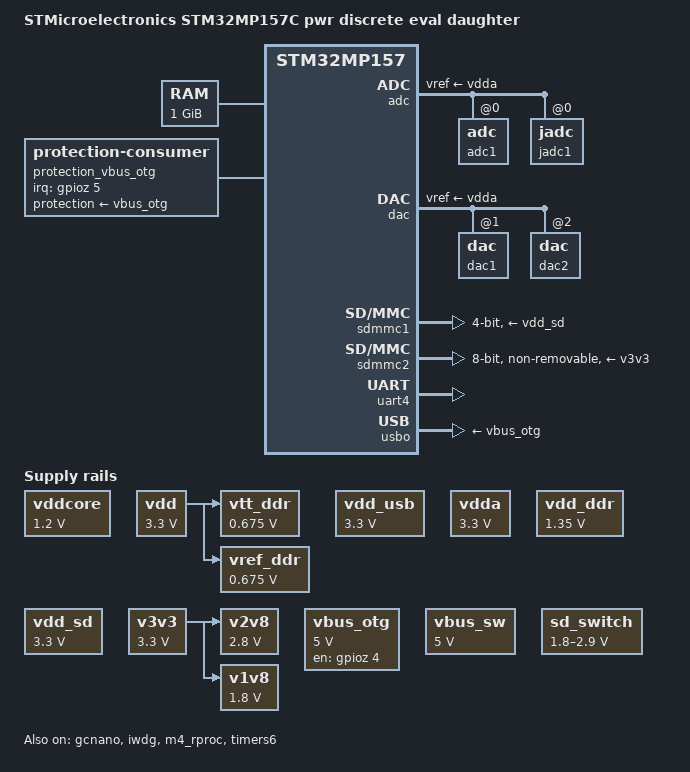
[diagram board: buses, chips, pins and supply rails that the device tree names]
/* SPDX-License-Identifier: (GPL-2.0+ OR BSD-3-Clause) */
/*
 * Copyright (C) STMicroelectronics 2017 - All Rights Reserved
 * Author: Ludovic Barre <ludovic.barre@st.com> for STMicroelectronics.
 */

/dts-v1/;

#include "stm32mp157c.dtsi"
#include "stm32mp157-pinctrl.dtsi"
#include <dt-bindings/gpio/gpio.h>
#include <dt-bindings/input/input.h>

/ {
	model = "STMicroelectronics STM32MP157C pwr discrete eval daughter";
	compatible = "st,stm32mp157c-ed2", "st,stm32mp157";

	chosen {
		bootargs = "earlyprintk console=ttyS3,115200 root=/dev/ram";
		stdout-path = "serial3:115200n8";
	};

	memory {
		reg = <0xC0000000 0x40000000>;
	};

	reserved-memory {
		#address-cells = <1>;
		#size-cells = <1>;
		ranges;

		ipc_share: sram_rproc@30040000 {
			compatible = "shared-dma-pool";
			reg = <0x30040000 0x10000>;
			no-map;
		};

		dma1_reserved: sram_dma1@30050000 {
			reg = <0x30050000 0x8000>;
			no-map;
		};

		dma2_reserved: sram_dma2@30058000 {
			reg = <0x30058000 0x8000>;
			no-map;
		};

		gcnano_reserved: gpu@f8000000 {
			reg = <0xf8000000 0x8000000>;
			no-map;
		};
	};

	gpio_keys {
		compatible = "gpio-keys";
		#address-cells = <1>;
		#size-cells = <0>;
		autorepeat;

		status = "disabled";
		button@0 {
			label = "User PA13";
			linux,code = <BTN_0>;
			interrupt-parent = <&gpioa>;
			interrupts = <13 1>;

			status = "disabled";
		};
		button@1 {
			label = "User PA14";
			linux,code = <BTN_1>;
			interrupt-parent = <&gpioa>;
			interrupts = <14 1>;

			status = "disabled";
		};
	};

	led {
		compatible = "gpio-leds";

		status = "disabled";
		red {
			label = "stm32mp:red:status";
			gpios = <&gpioa 13 GPIO_ACTIVE_LOW>;

			status = "disabled";
		};
		green {
			label = "stm32mp:green:user";
			gpios = <&gpioa 14 GPIO_ACTIVE_LOW>;

			status = "disabled";
		};
	};

	vddcore: regulator-vddcore {
		compatible = "regulator-fixed";
		regulator-name = "vddcore";
		regulator-min-microvolt = <1200000>;
		regulator-max-microvolt = <1200000>;
		regulator-always-on;
	};

	vdd: regulator-vdd {
		compatible = "regulator-fixed";
		regulator-name = "vdd";
		regulator-min-microvolt = <3300000>;
		regulator-max-microvolt = <3300000>;
		regulator-always-on;
	};

	vdd_usb: regulator-vdd_usb {
		compatible = "regulator-fixed";
		regulator-name = "vdd_usb";
		regulator-min-microvolt = <3300000>;
		regulator-max-microvolt = <3300000>;
		regulator-always-on;
	};

	vdda: regulator-vdda {
		compatible = "regulator-fixed";
		regulator-name = "vdda";
		regulator-min-microvolt = <3300000>;
		regulator-max-microvolt = <3300000>;
		regulator-always-on;
	};

	vdd_ddr: regulator-vdd_ddr {
		compatible = "regulator-fixed";
		regulator-name = "vdd_ddr";
		regulator-min-microvolt = <1350000>;
		regulator-max-microvolt = <1350000>;
		regulator-always-on;
	};

	vtt_ddr: regulator-vtt_ddr {
		compatible = "regulator-fixed";
		regulator-name = "vtt_ddr";
		regulator-min-microvolt = <675000>;
		regulator-max-microvolt = <675000>;
		regulator-always-on;
		vin-supply = <&vdd>;
	};

	vref_ddr: regulator-vref_ddr {
		compatible = "regulator-fixed";
		regulator-name = "vref_ddr";
		regulator-min-microvolt = <675000>;
		regulator-max-microvolt = <675000>;
		regulator-always-on;
		vin-supply = <&vdd>;
	};

	vdd_sd: regulator-vdd_sd {
		compatible = "regulator-fixed";
		regulator-name = "vdd_sd";
		regulator-min-microvolt = <3300000>;
		regulator-max-microvolt = <3300000>;
		regulator-always-on;
	};

	v3v3: regulator-v3v3 {
		compatible = "regulator-fixed";
		regulator-name = "v3v3";
		regulator-min-microvolt = <3300000>;
		regulator-max-microvolt = <3300000>;
		regulator-always-on;
	};

	v2v8: regulator-v2v8 {
		compatible = "regulator-fixed";
		regulator-name = "v2v8";
		regulator-min-microvolt = <2800000>;
		regulator-max-microvolt = <2800000>;
		regulator-always-on;
		vin-supply = <&v3v3>;
	};

	v1v8: regulator-v1v8 {
		compatible = "regulator-fixed";
		regulator-name = "v1v8";
		regulator-min-microvolt = <1800000>;
		regulator-max-microvolt = <1800000>;
		regulator-always-on;
		vin-supply = <&v3v3>;
	};

	vbus_otg: regulator-vbus_otg {
		compatible = "regulator-fixed";
		regulator-name = "vbus_otg";
		regulator-min-microvolt = <5000000>;
		regulator-max-microvolt = <5000000>;
		gpio = <&gpioz 4 0>;
		enable-active-high;
	};

	protection_vbus_otg {
		compatible = "protection-consumer";
		protection-supply = <&vbus_otg>;
		status = "okay";
		interrupts = <5 1>;
		interrupt-parent = <&gpioz>;
	};

	vbus_sw: regulator-vbus_sw {
		compatible = "regulator-fixed";
		regulator-name = "vbus_sw";
		regulator-min-microvolt = <5000000>;
		regulator-max-microvolt = <5000000>;
		regulator-always-on;
	};

	sd_switch: regulator-sd_switch {
		compatible = "regulator-gpio";
		regulator-name = "sd_switch";
		regulator-min-microvolt = <1800000>;
		regulator-max-microvolt = <2900000>;
		regulator-type = "voltage";
		regulator-always-on;

		gpios = <&gpiof 14 GPIO_ACTIVE_HIGH>;
		gpios-states = <0>;
		states = <1800000 0x1 2900000 0x0>;
	};
};

&adc {
	pinctrl-names = "default";
	/* ANA0, ANA1 are dedicated pins and don't need pinctrl: only in6. */
	pinctrl-0 = <&adc1_in6_pins_a>;
	vref-supply = <&vdda>;
	status = "okay";
	adc1: adc@0 {
		st,adc-channels = <0 1 6>;
		/* 16.5 ck_cycles sampling time */
		st,min-sample-time-nsecs = <400>;
		status = "okay";
	};
	jadc1: jadc@0 {
		st,adc-channels = <0 1 6>;
		/* 16.5 ck_cycles sampling time */
		st,min-sample-time-nsecs = <400>;
		status = "okay";
	};
};

&dac {
	pinctrl-names = "default";
	pinctrl-0 = <&dac_ch1_pins_a &dac_ch2_pins_a>;
	vref-supply = <&vdda>;
	status = "okay";
	dac1: dac@1 {
		status = "okay";
	};
	dac2: dac@2 {
		status = "okay";
	};
};

&dma1 {
	memory-region = <&dma1_reserved>;
};

&dma2 {
	memory-region = <&dma2_reserved>;
};

&gcnano {
	contiguous-area = <&gcnano_reserved>;
	status = "okay";
};

&ipcc {
	status = "okay";
};

&iwdg {
	timeout-sec = <32>;
	status = "okay";
};

&m4_rproc {
	memory-region = <&ipc_share>;
	mboxes = <&ipcc 0 0>, <&ipcc 0 1>;
	interrupt-parent = <&exti>;
	interrupts = <68 1>;
	interrupt-names = "wdg";
	status = "okay";
};

&pwr {
	pwr-supply = <&vdd>;
};

&sdmmc1 {
	pinctrl-names = "default";
	pinctrl-0 = <&sdmmc1_b4_pins_a &sdmmc1_dir_pins_a>;
	broken-cd;
	st,dirpol;
	st,negedge;
	bus-width = <4>;
	vmmc-supply = <&vdd_sd>;
	vqmmc-supply = <&sd_switch>;
	status = "okay";
};

&sdmmc2 {
	pinctrl-names = "default";
	pinctrl-0 = <&sdmmc2_b4_pins_a &sdmmc2_d47_pins_a>;
	non-removable;
	no-sd;
	no-sdio;
	st,dirpol;
	st,negedge;
	bus-width = <8>;
	vmmc-supply = <&v3v3>;
	vqmmc-supply = <&v3v3>;
	status = "okay";
};

&timers6 {
	status = "okay";
	timer@5 {
		status = "okay";
	};
};

&uart4 {
	pinctrl-names = "default";
	pinctrl-0 = <&uart4_pins_a>;
	status = "okay";
};

&usbo {
	vbus-supply = <&vbus_otg>;
};

&usbphyc {
	vdd-supply = <&vdd_usb>;
};
